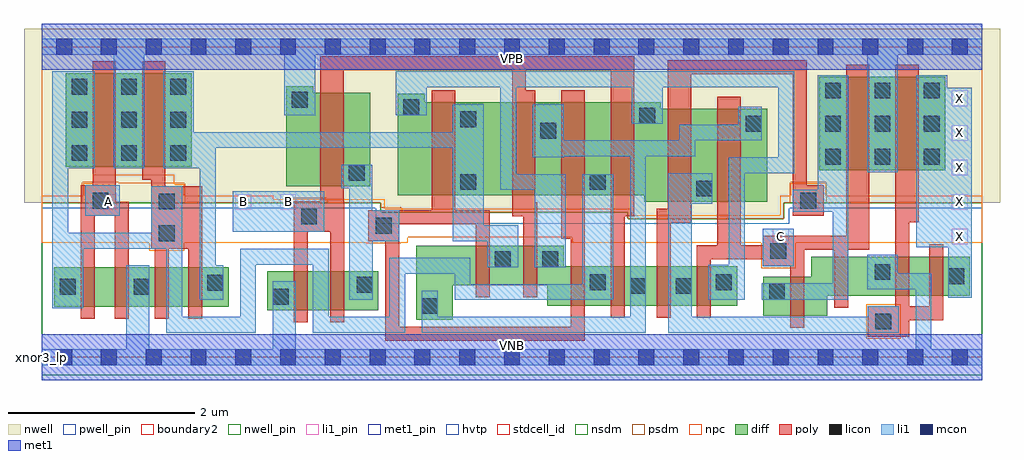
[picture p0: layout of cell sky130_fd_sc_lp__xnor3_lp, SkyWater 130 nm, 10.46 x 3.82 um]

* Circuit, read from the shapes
.subckt sky130_fd_sc_lp__xnor3_lp A B C VGND VNB VPB VPWR X
XM1 n1 A n2 VNB sky130_fd_pr__nfet_01v8 w=0.42 l=0.15
XM2 VGND A n1 VNB sky130_fd_pr__nfet_01v8 w=0.42 l=0.15
XM3 n3 n2 VGND VNB sky130_fd_pr__nfet_01v8 w=0.42 l=0.15
XM4 n4 n2 n3 VNB sky130_fd_pr__nfet_01v8 w=0.42 l=0.15
XM5 n5 B VGND VNB sky130_fd_pr__nfet_01v8 w=0.42 l=0.15
XM6 n6 B n5 VNB sky130_fd_pr__nfet_01v8 w=0.42 l=0.15
XM7 n4 n6 n7 VNB sky130_fd_pr__nfet_01v8 w=0.42 l=0.15
XM8 n8 B n4 VNB sky130_fd_pr__nfet_01v8 w=0.42 l=0.15
XM9 n2 n6 n8 VNB sky130_fd_pr__nfet_01v8 w=0.42 l=0.15
XM10 n7 B n2 VNB sky130_fd_pr__nfet_01v8 w=0.42 l=0.15
XM11 n9 n10 n7 VNB sky130_fd_pr__nfet_01v8 w=0.42 l=0.15
XM12 n8 C n9 VNB sky130_fd_pr__nfet_01v8 w=0.42 l=0.15
XM13 n11 C n10 VNB sky130_fd_pr__nfet_01v8 w=0.42 l=0.15
XM14 VGND C n11 VNB sky130_fd_pr__nfet_01v8 w=0.42 l=0.15
XM15 n12 n9 VGND VNB sky130_fd_pr__nfet_01v8 w=0.42 l=0.15
XM16 X n9 n12 VNB sky130_fd_pr__nfet_01v8 w=0.42 l=0.15
XM17 VPWR A n2 VPB sky130_fd_pr__pfet_01v8_hvt w=1 l=0.25
XM18 n4 n2 VPWR VPB sky130_fd_pr__pfet_01v8_hvt w=1 l=0.25
XM19 n6 B VPWR VPB sky130_fd_pr__pfet_01v8_hvt w=1 l=0.25
XM20 n4 n6 n8 VPB sky130_fd_pr__pfet_01v8_hvt w=1 l=0.25
XM21 n7 B n4 VPB sky130_fd_pr__pfet_01v8_hvt w=1 l=0.25
XM22 n2 n6 n7 VPB sky130_fd_pr__pfet_01v8_hvt w=1 l=0.25
XM23 n8 B n2 VPB sky130_fd_pr__pfet_01v8_hvt w=1 l=0.25
XM24 n9 n10 n8 VPB sky130_fd_pr__pfet_01v8_hvt w=1 l=0.25
XM25 n7 C n9 VPB sky130_fd_pr__pfet_01v8_hvt w=1 l=0.25
XM26 VPWR C n10 VPB sky130_fd_pr__pfet_01v8_hvt w=1 l=0.25
XM27 X n9 VPWR VPB sky130_fd_pr__pfet_01v8_hvt w=1 l=0.25
.ends

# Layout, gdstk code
import gdstk
lib = gdstk.Library(unit=1e-6, precision=1e-09)
def R(c, l, rs):  # rectangles x0, y0, x1, y1
    for r in rs: c.add(gdstk.rectangle(r[:2], r[2:], *l))
def A(c, l, x, y, w, h, nx, ny, dx, dy):  # array of equal rectangles
    R(c, l, [(x+i*dx, y+j*dy, x+i*dx+w, y+j*dy+h) for i in range(nx) for j in range(ny)])
def P(c, l, *ps):  # polygons
    for p in ps: c.add(gdstk.Polygon(p, *l))
nwell_pin = (64, 16)
nwell = (64, 20)
diff = (65, 20)
poly = (66, 20)
licon = (66, 44)
li1_pin = (67, 16)
li1 = (67, 20)
mcon = (67, 44)
met1_pin = (68, 16)
met1 = (68, 20)
hvtp = (78, 44)
stdcell_id = (81, 4)
nsdm = (93, 44)
psdm = (94, 20)
npc = (95, 20)
pwell_pin = (122, 16)
boundary2 = (236, 0)

sky130_fd_sc_lp__xnor3_l = lib.new_cell('sky130_fd_sc_lp__xnor3_lp')
R(sky130_fd_sc_lp__xnor3_l, nwell_pin, [(0,3.085,10.08,3.33)])
P(sky130_fd_sc_lp__xnor3_l, nwell, [(10.27,3.52),(-0.19,3.52),(-0.19,1.655),(3.635,1.655),(3.635,1.555),(6.28,1.555),(6.28,1.485),(7.955,1.485),(7.955,1.655),(10.27,1.655)])
R(sky130_fd_sc_lp__xnor3_l, diff, [(2.415,0.505,3.605,0.925), (0.135,0.545,2.005,0.965), (8.335,2.005,9.685,3.005), (0.26,2.045,1.61,3.045)])
P(sky130_fd_sc_lp__xnor3_l, diff, [(3.52,2.835),(2.91,2.835),(2.91,2.905),(2.62,2.905),(2.62,1.835),(3.52,1.835)],
  [(7.455,0.975),(5.595,0.975),(5.595,1.195),(4.015,1.195),(4.015,0.405),(4.405,0.405),(4.405,0.775),(5.42,0.775),(5.42,0.555),(7.455,0.555)],
  [(7.775,2.665),(6.635,2.665),(6.635,2.735),(4.105,2.735),(4.105,2.825),(3.815,2.825),(3.815,1.735),(6.46,1.735),(6.46,1.665),(7.775,1.665)],
  [(9.945,1.08),(8.245,1.08),(8.245,0.865),(7.735,0.865),(7.735,0.445),(8.42,0.445),(8.42,0.66),(9.945,0.66)])
P(sky130_fd_sc_lp__xnor3_l, poly, [(0.93,1.665),(0.795,1.665),(0.795,3.175),(0.545,3.175),(0.545,1.845),(0.42,1.845),(0.42,0.415),(0.57,0.415),(0.57,1.515),(0.78,1.515),(0.78,0.415),(0.93,0.415)],
  [(1.72,1.835),(1.325,1.835),(1.325,3.175),(1.075,3.175),(1.075,1.905),(1.175,1.905),(1.175,1.165),(1.21,1.165),(1.21,0.415),(1.36,0.415),(1.36,1.165),(1.57,1.165),(1.57,0.415),(1.72,0.415)],
  [(5.82,2.865),(5.57,2.865),(5.57,1.27),(5.67,1.27),(5.67,0.33),(3.83,0.33),(3.83,1.425),(4.65,1.425),(4.65,0.645),(4.8,0.645),(4.8,1.575),(4.43,1.575),(4.43,2.865),(4.18,2.865),(4.18,1.575),(3.5,1.575),(3.5,1.245),(3.68,1.245),(3.68,0.18),(5.82,0.18)],
  [(6.35,3.225),(2.985,3.225),(2.985,1.675),(2.7,1.675),(2.7,0.375),(2.85,0.375),(2.85,1.345),(3.09,1.345),(3.09,0.375),(3.24,0.375),(3.24,1.675),(3.235,1.675),(3.235,3.075),(5.04,3.075),(5.04,1.51),(5.16,1.51),(5.16,0.645),(5.31,0.645),(5.31,1.66),(5.29,1.66),(5.29,2.865),(5.19,2.865),(5.19,3.075),(6.1,3.075),(6.1,0.425),(6.25,0.425),(6.25,1.51),(6.35,1.51)],
  [(8.38,1.845),(8.2,1.845),(8.2,3.185),(6.71,3.185),(6.71,1.59),(6.59,1.59),(6.59,0.425),(6.74,0.425),(6.74,1.44),(6.96,1.44),(6.96,3.035),(8.05,3.035),(8.05,1.515),(8.38,1.515)],
  [(8.87,3.135),(8.62,3.135),(8.62,1.305),(7.73,1.305),(7.73,1.2),(7.49,1.2),(7.49,2.795),(7.24,2.795),(7.24,1.2),(7.02,1.2),(7.02,0.425),(7.17,0.425),(7.17,1.05),(7.73,1.05),(7.73,0.975),(8.02,0.975),(8.02,0.315),(8.17,0.315),(8.17,1.155),(8.495,1.155),(8.495,0.53),(8.645,0.53),(8.645,1.155),(8.87,1.155)],
  [(9.66,1.21),(9.51,1.21),(9.51,0.55),(9.3,0.55),(9.3,1.45),(9.4,1.45),(9.4,3.135),(9.15,3.135),(9.15,0.55),(8.855,0.55),(8.855,0.22),(9.3,0.22),(9.3,0.4),(9.66,0.4)])
A(sky130_fd_sc_lp__xnor3_l, licon, 8.395, 2.065, 0.17, 0.17, 3, 3, 0.53, 0.355)
A(sky130_fd_sc_lp__xnor3_l, licon, 0.32, 2.105, 0.17, 0.17, 3, 3, 0.53, 0.355)
R(sky130_fd_sc_lp__xnor3_l, licon, [(8.935,0.3,9.105,0.47), (4.075,0.465,4.245,0.635), (2.475,0.565,2.645,0.735), (7.795,0.62,7.965,0.79), (0.195,0.67,0.365,0.84), (0.985,0.67,1.155,0.84), (6.305,0.68,6.475,0.85), (6.795,0.68,6.965,0.85), (3.375,0.695,3.545,0.865), (1.775,0.715,1.945,0.885), (5.875,0.72,6.045,0.89), (7.225,0.72,7.395,0.89), (9.715,0.785,9.885,0.955), (8.925,0.83,9.095,1), (4.855,0.965,5.025,1.135), (5.365,0.965,5.535,1.135), (7.81,1.055,7.98,1.225), (1.255,1.245,1.425,1.415), (3.58,1.325,3.75,1.495), (2.78,1.425,2.95,1.595), (1.255,1.585,1.425,1.755), (0.545,1.595,0.715,1.765), (8.13,1.595,8.3,1.765), (7.015,1.725,7.185,1.895), (4.485,1.795,4.655,1.965), (5.875,1.795,6.045,1.965), (3.29,1.895,3.46,2.065), (5.345,2.345,5.515,2.515), (7.545,2.42,7.715,2.59), (4.485,2.465,4.655,2.635), (6.405,2.505,6.575,2.675), (3.875,2.595,4.045,2.765), (2.68,2.675,2.85,2.845)])
A(sky130_fd_sc_lp__xnor3_l, li1_pin, 9.755, 1.21, 0.17, 0.17, 1, 5, 0, 0.37)
R(sky130_fd_sc_lp__xnor3_l, li1_pin, [(7.835,1.21,8.005,1.38), (0.635,1.58,0.805,1.75), (2.075,1.58,2.245,1.75), (2.555,1.58,2.725,1.75)])
R(sky130_fd_sc_lp__xnor3_l, li1, [(7.73,0.975,8.06,1.38), (2.045,1.345,3.03,1.78), (0.465,1.515,0.835,1.845)])
P(sky130_fd_sc_lp__xnor3_l, li1, [(3.21,1.815),(3.21,2.065),(3.54,2.065),(3.54,1.575),(3.83,1.575),(3.83,1.245),(3.545,1.245),(3.545,0.615),(3.295,0.615),(3.295,1.815)],
  [(6.715,1.975),(7.185,1.975),(7.185,1.645),(6.965,1.645),(6.965,0.435),(8.855,0.435),(8.855,0.55),(9.185,0.55),(9.185,0.265),(6.715,0.265)],
  [(2.6,2.595),(2.6,3.245),(1.1,3.245),(1.1,2.025),(0.77,2.025),(0.77,3.245),(0,3.245),(0,3.415),(10.08,3.415),(10.08,3.245),(9.175,3.245),(9.175,1.985),(8.845,1.985),(8.845,3.245),(2.93,3.245),(2.93,2.595)],
  [(0.905,0.085),(0.905,0.985),(1.155,0.985),(1.155,0.085),(2.475,0.085),(2.475,0.815),(2.725,0.815),(2.725,0.085),(9.365,0.085),(9.365,0.73),(8.845,0.73),(8.845,1.1),(9.175,1.1),(9.175,0.9),(9.535,0.9),(9.535,0.085),(10.08,0.085),(10.08,-0.085),(0,-0.085),(0,0.085)],
  [(2.905,0.265),(2.905,0.995),(2.295,0.995),(2.295,0.265),(1.335,0.265),(1.335,1.165),(0.445,1.165),(0.445,0.525),(0.115,0.525),(0.115,3.065),(0.57,3.065),(0.57,2.025),(0.285,2.025),(0.285,1.335),(1.175,1.335),(1.175,1.835),(1.505,1.835),(1.505,0.435),(2.125,0.435),(2.125,1.165),(3.075,1.165),(3.075,0.435),(3.725,0.435),(3.725,1.065),(4.595,1.065),(4.595,0.785),(5.795,0.785),(5.795,1.965),(6.125,1.965),(6.125,0.615),(4.425,0.615),(4.425,0.895),(3.895,0.895),(3.895,0.265)],
  [(4.915,1.795),(4.915,2.895),(4.125,2.895),(4.125,2.595),(3.795,2.595),(3.795,3.065),(8.065,3.065),(8.065,1.975),(7.535,1.975),(7.535,0.615),(7.145,0.615),(7.145,0.995),(7.365,0.995),(7.365,2.145),(7.895,2.145),(7.895,2.895),(6.655,2.895),(6.655,2.505),(6.325,2.505),(6.325,2.895),(5.085,2.895),(5.085,1.965),(5.615,1.965),(5.615,0.965),(5.285,0.965),(5.285,1.795)],
  [(4.405,1.245),(4.405,2.245),(1.865,2.245),(1.865,0.985),(1.945,0.985),(1.945,0.615),(1.695,0.615),(1.695,2.025),(1.3,2.025),(1.3,3.065),(1.63,3.065),(1.63,2.415),(4.405,2.415),(4.405,2.715),(4.735,2.715),(4.735,1.415),(5.105,1.415),(5.105,0.965),(4.775,0.965),(4.775,1.245)],
  [(9.375,1.18),(9.375,3.025),(9.705,3.025),(9.705,2.89),(9.965,2.89),(9.965,0.64),(9.715,0.64),(9.715,1.18)],
  [(7.715,0.615),(7.715,0.795),(8.475,0.795),(8.475,1.56),(8.05,1.56),(8.05,1.795),(8.315,1.795),(8.315,3.025),(8.645,3.025),(8.645,0.615)],
  [(6.835,2.325),(6.835,2.495),(7.465,2.495),(7.465,2.685),(7.715,2.685),(7.715,2.325),(7.005,2.325),(7.005,2.155),(6.475,2.155),(6.475,0.265),(4.075,0.265),(4.075,0.715),(4.245,0.715),(4.245,0.435),(6.305,0.435),(6.305,2.155),(5.595,2.155),(5.595,2.145),(5.265,2.145),(5.265,2.715),(5.595,2.715),(5.595,2.325)])
A(sky130_fd_sc_lp__xnor3_l, mcon, 0.155, -0.085, 0.17, 0.17, 21, 2, 0.48, 3.33)
R(sky130_fd_sc_lp__xnor3_l, met1_pin, [(0,0,10.08,0.245), (0,3.085,10.08,3.33)])
R(sky130_fd_sc_lp__xnor3_l, met1, [(0,-0.245,10.08,0.245), (0,3.085,10.08,3.575)])
P(sky130_fd_sc_lp__xnor3_l, hvtp, [(10.08,3.33),(0,3.33),(0,1.6),(3.58,1.6),(3.58,1.43),(8.01,1.43),(8.01,1.6),(10.08,1.6)])
R(sky130_fd_sc_lp__xnor3_l, stdcell_id, [(0,0,10.08,3.33)])
P(sky130_fd_sc_lp__xnor3_l, nsdm, [(10.08,1.655),(7.955,1.655),(7.955,1.485),(6.28,1.485),(6.28,1.555),(3.635,1.555),(3.635,1.655),(0,1.655),(0,-0.19),(10.08,-0.19)])
P(sky130_fd_sc_lp__xnor3_l, psdm, [(10.08,3.52),(0,3.52),(0,1.655),(0.435,1.655),(0.435,1.875),(0.825,1.875),(0.825,1.865),(1.535,1.865),(1.535,1.655),(2.67,1.655),(2.67,1.705),(3.06,1.705),(3.06,1.655),(3.635,1.655),(3.635,1.605),(3.86,1.605),(3.86,1.555),(6.28,1.555),(6.28,1.485),(7.955,1.485),(7.955,1.655),(8.02,1.655),(8.02,1.875),(8.41,1.875),(8.41,1.655),(10.08,1.655)])
R(sky130_fd_sc_lp__xnor3_l, npc, [(8.835,0.2,9.205,0.57)])
P(sky130_fd_sc_lp__xnor3_l, npc, [(10.08,1.73),(8.4,1.73),(8.4,1.865),(8.03,1.865),(8.03,1.73),(7.915,1.73),(7.915,1.525),(6.32,1.525),(6.32,1.595),(3.675,1.595),(3.675,1.695),(2.48,1.695),(2.48,1.73),(1.525,1.73),(1.525,1.855),(1.42,1.855),(1.42,1.955),(0.55,1.955),(0.55,1.865),(0.445,1.865),(0.445,1.73),(0,1.73),(0,1.23),(1.155,1.23),(1.155,1.145),(1.525,1.145),(1.525,1.23),(3.48,1.23),(3.48,1.225),(3.85,1.225),(3.85,1.23),(3.925,1.23),(3.925,1.285),(5.685,1.285),(5.685,1.23),(7.71,1.23),(7.71,0.955),(8.08,0.955),(8.08,1.23),(10.08,1.23)])
R(sky130_fd_sc_lp__xnor3_l, pwell_pin, [(0,0,10.08,0.245)])
R(sky130_fd_sc_lp__xnor3_l, boundary2, [(0,0,10.08,3.33)])
sky130_fd_sc_lp__xnor3_l.add(gdstk.Label('VNB', (5.04,0.123), layer=64, texttype=59))
sky130_fd_sc_lp__xnor3_l.add(gdstk.Label('VPB', (5.04,3.208), layer=64, texttype=5))
sky130_fd_sc_lp__xnor3_l.add(gdstk.Label('xnor3_lp', (0,0), layer=83, texttype=44))
sky130_fd_sc_lp__xnor3_l.add(gdstk.Label('VPWR', (5.04,3.208), layer=68, texttype=5))
sky130_fd_sc_lp__xnor3_l.add(gdstk.Label('VGND', (5.04,0.123), layer=68, texttype=5))
sky130_fd_sc_lp__xnor3_l.add(gdstk.Label('B', (2.16,1.665), layer=67, texttype=5))
sky130_fd_sc_lp__xnor3_l.add(gdstk.Label('B', (2.64,1.665), layer=67, texttype=5))
sky130_fd_sc_lp__xnor3_l.add(gdstk.Label('A', (0.72,1.665), layer=67, texttype=5))
sky130_fd_sc_lp__xnor3_l.add(gdstk.Label('C', (7.92,1.295), layer=67, texttype=5))
sky130_fd_sc_lp__xnor3_l.add(gdstk.Label('X', (9.84,1.295), layer=67, texttype=5))
sky130_fd_sc_lp__xnor3_l.add(gdstk.Label('X', (9.84,1.665), layer=67, texttype=5))
sky130_fd_sc_lp__xnor3_l.add(gdstk.Label('X', (9.84,2.035), layer=67, texttype=5))
sky130_fd_sc_lp__xnor3_l.add(gdstk.Label('X', (9.84,2.405), layer=67, texttype=5))
sky130_fd_sc_lp__xnor3_l.add(gdstk.Label('X', (9.84,2.775), layer=67, texttype=5))

lib.write_gds('sky130_fd_sc_lp__xnor3_lp.gds')
